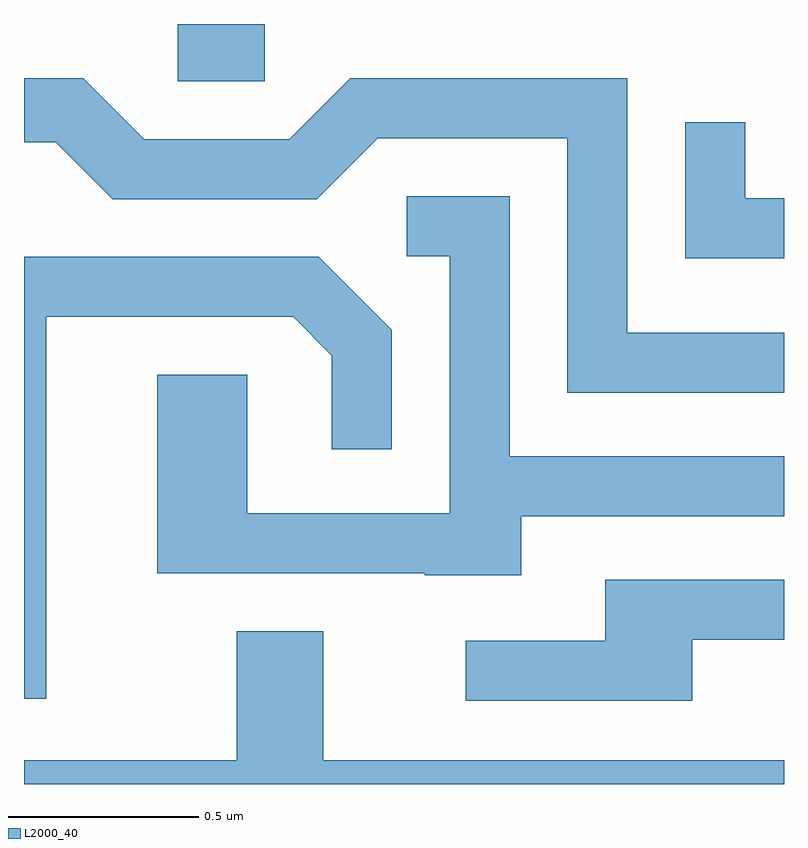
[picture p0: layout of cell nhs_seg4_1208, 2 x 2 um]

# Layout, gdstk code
import gdstk
lib = gdstk.Library(unit=1e-6, precision=1e-09)
def R(c, l, rs):  # rectangles x0, y0, x1, y1
    for r in rs: c.add(gdstk.rectangle(r[:2], r[2:], *l))
def P(c, l, *ps):  # polygons
    for p in ps: c.add(gdstk.Polygon(p, *l))
L2000_40 = (2000, 40)

nhs_seg4_1208 = lib.new_cell('nhs_seg4_1208')
R(nhs_seg4_1208, L2000_40, [(194.016,1367.831,194.244,1367.982)])
P(nhs_seg4_1208, L2000_40, [(195.611,1367.169),(195.199,1367.169),(195.199,1367.839),(194.469,1367.839),(194.309,1367.679),(193.927,1367.679),(193.767,1367.839),(193.611,1367.839),(193.611,1367.671),(193.694,1367.671),(193.844,1367.521),(194.382,1367.521),(194.542,1367.681),(195.041,1367.681),(195.041,1367.011),(195.611,1367.011)],
  [(195.611,1367.524),(195.509,1367.524),(195.509,1367.723),(195.351,1367.723),(195.351,1367.366),(195.611,1367.366)],
  [(194.919,1366.686),(195.611,1366.686),(195.611,1366.844),(194.889,1366.844),(194.889,1367.529),(194.618,1367.529),(194.618,1367.371),(194.731,1367.371),(194.731,1366.694),(194.199,1366.694),(194.199,1367.059),(193.961,1367.059),(193.961,1366.536),(194.665,1366.536),(194.665,1366.531),(194.919,1366.531)],
  [(193.669,1367.211),(194.319,1367.211),(194.421,1367.109),(194.421,1366.863),(194.579,1366.863),(194.579,1367.177),(194.387,1367.369),(193.611,1367.369),(193.611,1366.206),(193.669,1366.206)],
  [(195.369,1366.361),(195.611,1366.361),(195.611,1366.519),(195.141,1366.519),(195.141,1366.359),(194.773,1366.359),(194.773,1366.201),(195.369,1366.201)],
  [(195.611,1366.044),(194.399,1366.044),(194.399,1366.384),(194.171,1366.384),(194.171,1366.044),(193.611,1366.044),(193.611,1365.982),(195.611,1365.982)])

lib.write_gds('nhs_seg4_1208.gds')
